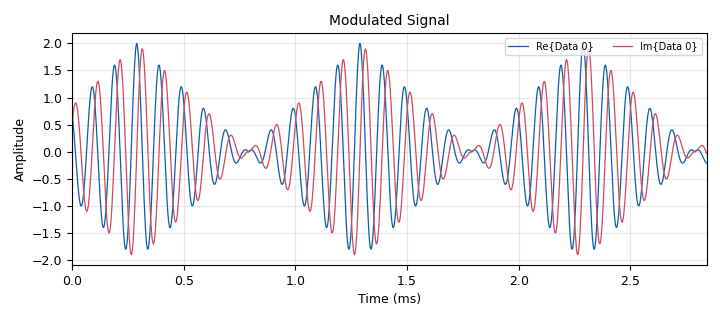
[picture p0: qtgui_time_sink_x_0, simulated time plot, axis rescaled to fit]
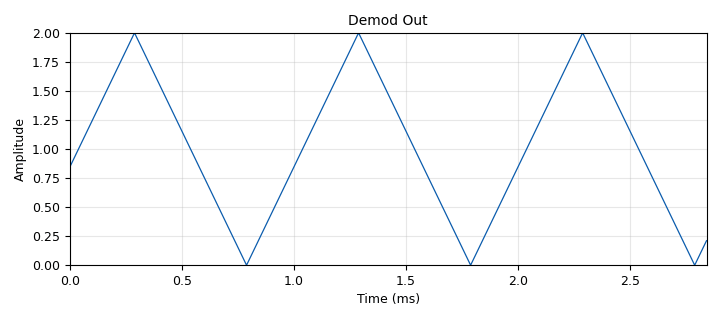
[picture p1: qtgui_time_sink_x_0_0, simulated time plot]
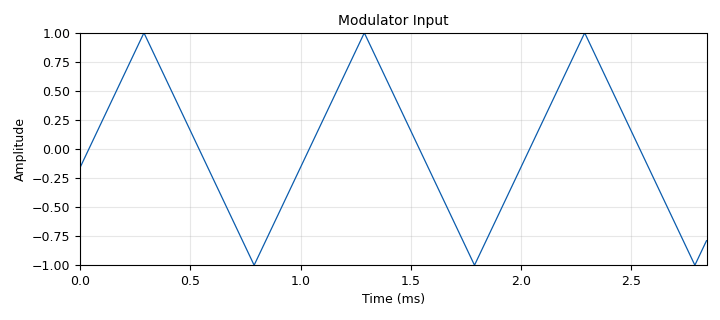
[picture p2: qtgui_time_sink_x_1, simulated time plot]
options:
  parameters:
    category: Custom
    generate_options: qt_gui
    id: am_mod
    output_language: python
  states: {}

blocks:
- name: amplitude
  id: variable_qtgui_range
  parameters:
    start: '0'
    step: '0.1'
    stop: '2'
    value: '1'
  states: {}
- name: samp_rate
  id: variable
  parameters:
    value: 360e3
  states: {}
- name: analog_sig_source_x_0
  id: analog_sig_source_x
  parameters:
    amp: 2*amplitude
    comment: |-
      Baseband
      signal
    freq: '1000'
    offset: '-1*amplitude'
    phase: '0'
    samp_rate: samp_rate
    type: float
    waveform: analog.GR_TRI_WAVE
  states: {}
- name: analog_sig_source_x_1
  id: analog_sig_source_x
  parameters:
    amp: '1'
    comment: Carrier
    freq: '10000'
    offset: '0'
    phase: '0'
    samp_rate: samp_rate
    type: complex
    waveform: analog.GR_COS_WAVE
  states: {}
- name: blocks_add_const_vxx_0
  id: blocks_add_const_vxx
  parameters:
    const: '1'
    type: float
  states: {}
- name: blocks_complex_to_mag_1
  id: blocks_complex_to_mag
  parameters:
    comment: |-
      Start of
      demodulator
  states: {}
- name: blocks_float_to_complex_0
  id: blocks_float_to_complex
  parameters: {}
  states: {}
- name: blocks_multiply_xx_0
  id: blocks_multiply_xx
  parameters:
    comment: |-
      End of modulator
      portion
    type: complex
  states: {}
- name: blocks_throttle2_0
  id: blocks_throttle2
  parameters:
    samples_per_second: samp_rate
    type: float
  states: {}
- name: qtgui_time_sink_x_0
  id: qtgui_time_sink_x
  parameters:
    name: '"Modulated Signal"'
    size: '1024'
    srate: samp_rate
    type: complex
  states: {}
- name: qtgui_time_sink_x_0_0
  id: qtgui_time_sink_x
  parameters:
    name: '"Demod Out"'
    size: '1024'
    srate: samp_rate
    type: float
    ymax: '2'
    ymin: '0'
  states: {}
- name: qtgui_time_sink_x_1
  id: qtgui_time_sink_x
  parameters:
    label1: ''
    name: '"Modulator Input"'
    size: '1024'
    srate: samp_rate
    type: float
  states: {}

connections:
- [analog_sig_source_x_0, '0', blocks_throttle2_0, '0']
- [analog_sig_source_x_0, '0', qtgui_time_sink_x_1, '0']
- [analog_sig_source_x_1, '0', blocks_multiply_xx_0, '1']
- [blocks_add_const_vxx_0, '0', blocks_float_to_complex_0, '0']
- [blocks_complex_to_mag_1, '0', qtgui_time_sink_x_0_0, '0']
- [blocks_float_to_complex_0, '0', blocks_multiply_xx_0, '0']
- [blocks_multiply_xx_0, '0', blocks_complex_to_mag_1, '0']
- [blocks_multiply_xx_0, '0', qtgui_time_sink_x_0, '0']
- [blocks_throttle2_0, '0', blocks_add_const_vxx_0, '0']

metadata:
  file_format: 1
  grc_version: 3.10.9.2
